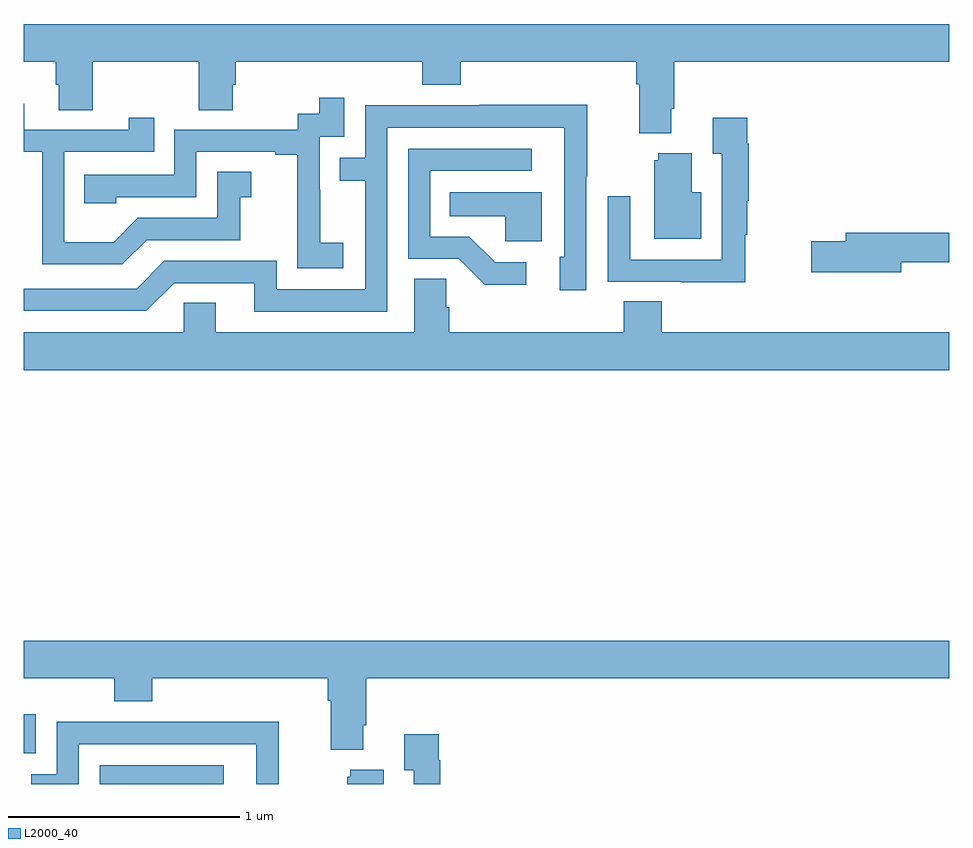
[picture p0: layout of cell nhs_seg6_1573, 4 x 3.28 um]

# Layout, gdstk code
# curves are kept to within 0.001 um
import gdstk
lib = gdstk.Library(unit=1e-6, precision=1e-09)
def R(c, l, rs):  # rectangles x0, y0, x1, y1
    for r in rs: c.add(gdstk.rectangle(r[:2], r[2:], *l))
def P(c, l, *ps):  # polygons
    for p in ps: c.add(gdstk.Polygon(p, *l))
L2000_40 = (2000, 40)

nhs_seg6_1573 = lib.new_cell('nhs_seg6_1573')
R(nhs_seg6_1573, L2000_40, [(205.329,993.5,205.864,993.582), (205,993.633,205.053,993.802)])
P(nhs_seg6_1573, L2000_40, [(207.799,996.418),(207.812,996.418),(207.812,996.62),(209,996.62),(209,996.784),(205,996.784),(205,996.62),(205.139,996.62),(205.139,996.522),(205.151,996.522),(205.151,996.412),(205.299,996.412),(205.299,996.62),(205.756,996.62),(205.756,996.412),(205.903,996.412),(205.903,996.522),(205.916,996.522),(205.916,996.62),(206.723,996.62),(206.723,996.521),(206.888,996.521),(206.888,996.62),(207.647,996.62),(207.647,996.524),(207.659,996.524),(207.659,996.311),(207.799,996.311)],
  [(206.38,995.839),(206.282,995.839),(206.282,996.068),(206.28,996.068),(206.28,996.297),(206.385,996.297),(206.385,996.466),(206.277,996.466),(206.277,996.396),(206.184,996.396),(206.184,996.327),(205.65,996.327),(205.65,996.132),(205.261,996.132),(205.261,996.009),(205.401,996.009),(205.401,996.036),(205.746,996.036),(205.746,996.231),(206.087,996.231),(206.087,996.219),(206.183,996.219),(206.183,995.935),(206.182,995.935),(206.182,995.729),(206.38,995.729)],
  [(205.531,995.85),(205.935,995.85),(205.935,996.035),(205.984,996.035),(205.984,996.145),(205.836,996.145),(205.836,995.946),(205.494,995.946),(205.39,995.842),(205.176,995.842),(205.176,996.231),(205.565,996.231),(205.565,996.379),(205.454,996.379),(205.454,996.327),(205.003,996.327),(205.003,996.439),(205,996.439),(205,996.231),(205.08,996.231),(205.08,995.745),(205.426,995.745)],
  [(206.571,996.336),(207.335,996.336),(207.336,995.778),(207.317,995.778),(207.317,995.634),(207.432,995.634),(207.432,996.127),(207.435,996.127),(207.435,996.434),(206.971,996.434),(206.971,996.432),(206.475,996.432),(206.475,996.207),(206.365,996.207),(206.365,996.106),(206.475,996.106),(206.475,995.637),(206.094,995.637),(206.094,995.76),(205.608,995.76),(205.488,995.64),(205,995.64),(205,995.544),(205.53,995.544),(205.65,995.664),(205.997,995.664),(205.997,995.541),(206.571,995.541)],
  [(208.118,995.873),(208.126,995.873),(208.126,996.02),(208.133,996.02),(208.133,996.266),(208.126,996.266),(208.126,996.379),(207.977,996.379),(207.977,996.223),(208.017,996.223),(208.017,995.766),(207.621,995.766),(207.621,996.04),(207.525,996.04),(207.525,995.67),(207.841,995.67),(207.841,995.669),(208.118,995.669)],
  [(207.172,995.754),(207.037,995.754),(206.926,995.865),(206.757,995.865),(206.757,996.15),(207.196,996.15),(207.196,996.246),(206.661,996.246),(206.661,995.769),(206.88,995.769),(206.993,995.657),(207.172,995.657)],
  [(207.928,996.058),(207.886,996.058),(207.886,996.226),(207.743,996.226),(207.743,996.195),(207.725,996.195),(207.725,995.855),(207.928,995.855)],
  [(207.238,996.058),(206.842,996.058),(206.842,995.954),(207.081,995.954),(207.081,995.846),(207.238,995.846)],
  [(208.792,995.754),(209,995.754),(209,995.882),(208.553,995.882),(208.553,995.846),(208.404,995.846),(208.404,995.711),(208.792,995.711)],
  [(209,995.452),(207.758,995.452),(207.758,995.585),(207.593,995.585),(207.593,995.452),(206.84,995.452),(206.84,995.561),(206.826,995.561),(206.826,995.684),(206.687,995.684),(206.687,995.452),(205.831,995.452),(205.831,995.579),(205.692,995.579),(205.692,995.452),(205,995.452),(205,995.288),(209,995.288)],
  [(206.467,993.754),(206.48,993.754),(206.48,993.956),(209,993.956),(209,994.12),(205,994.12),(205,993.956),(205.391,993.956),(205.391,993.857),(205.556,993.857),(205.556,993.956),(206.315,993.956),(206.315,993.86),(206.327,993.86),(206.327,993.647),(206.467,993.647)],
  [(205.239,993.672),(206.004,993.672),(206.004,993.5),(206.103,993.5),(206.103,993.77),(205.639,993.77),(205.639,993.768),(205.143,993.768),(205.143,993.543),(205.033,993.543),(205.033,993.5),(205.239,993.5)],
  [(206.801,993.602),(206.794,993.602),(206.794,993.715),(206.645,993.715),(206.645,993.559),(206.685,993.559),(206.685,993.5),(206.801,993.5)],
  [(206.557,993.562),(206.411,993.562),(206.411,993.531),(206.399,993.531),(206.399,993.5),(206.557,993.5)])

lib.write_gds('nhs_seg6_1573.gds')
